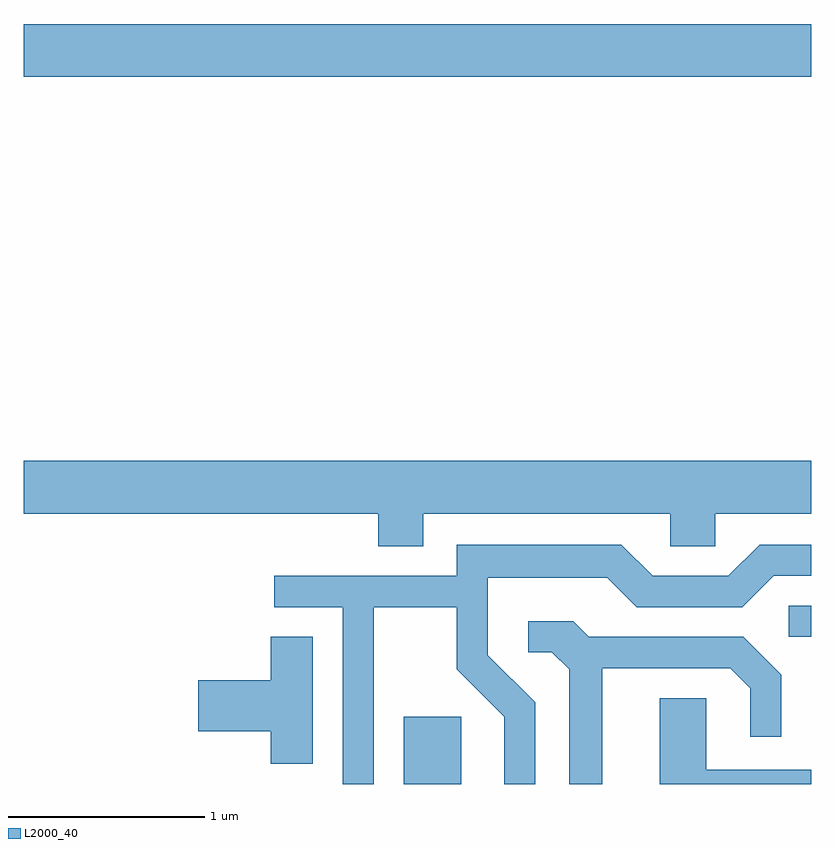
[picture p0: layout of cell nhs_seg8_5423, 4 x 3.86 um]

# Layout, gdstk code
import gdstk
lib = gdstk.Library(unit=1e-6, precision=1e-09)
def R(c, l, rs):  # rectangles x0, y0, x1, y1
    for r in rs: c.add(gdstk.rectangle(r[:2], r[2:], *l))
def P(c, l, *ps):  # polygons
    for p in ps: c.add(gdstk.Polygon(p, *l))
L2000_40 = (2000, 40)

nhs_seg8_5423 = lib.new_cell('nhs_seg8_5423')
R(nhs_seg8_5423, L2000_40, [(349.541,1868.342,349.834,1868.684), (351.498,1869.091,351.611,1869.249), (347.611,1871.936,351.611,1872.204)])
P(nhs_seg8_5423, L2000_40, [(349.639,1869.716),(350.896,1869.716),(350.896,1869.551),(351.124,1869.551),(351.124,1869.716),(351.611,1869.716),(351.611,1869.984),(347.611,1869.984),(347.611,1869.716),(349.411,1869.716),(349.411,1869.551),(349.639,1869.551)],
  [(349.389,1869.241),(349.811,1869.241),(349.811,1868.924),(350.051,1868.684),(350.051,1868.342),(350.209,1868.342),(350.209,1868.757),(349.969,1868.997),(349.969,1869.391),(350.574,1869.391),(350.724,1869.241),(351.262,1869.241),(351.422,1869.401),(351.611,1869.401),(351.611,1869.559),(351.349,1869.559),(351.189,1869.399),(350.807,1869.399),(350.647,1869.559),(349.811,1869.559),(349.811,1869.399),(348.883,1869.399),(348.883,1869.241),(349.231,1869.241),(349.231,1868.342),(349.389,1868.342)],
  [(350.549,1868.931),(351.199,1868.931),(351.301,1868.829),(351.301,1868.583),(351.459,1868.583),(351.459,1868.897),(351.267,1869.089),(350.482,1869.089),(350.402,1869.169),(350.173,1869.169),(350.173,1869.011),(350.294,1869.011),(350.381,1868.924),(350.381,1868.342),(350.549,1868.342)],
  [(349.079,1869.089),(348.866,1869.089),(348.866,1868.869),(348.496,1868.869),(348.496,1868.611),(348.866,1868.611),(348.866,1868.446),(349.079,1868.446)],
  [(351.611,1868.414),(351.079,1868.414),(351.079,1868.779),(350.841,1868.779),(350.841,1868.342),(351.611,1868.342)])

lib.write_gds('nhs_seg8_5423.gds')
